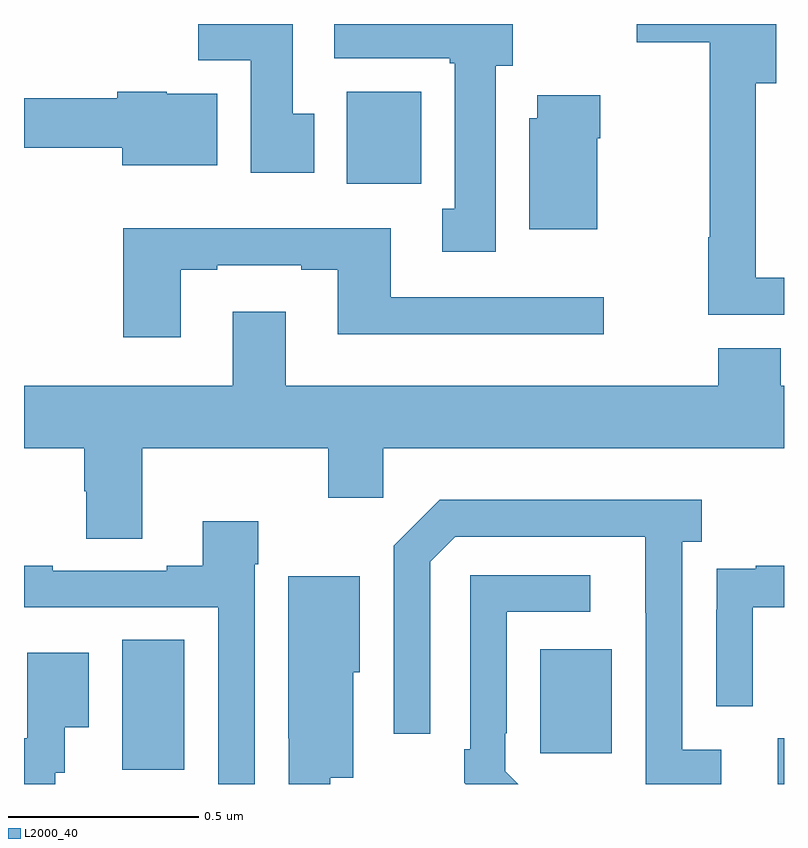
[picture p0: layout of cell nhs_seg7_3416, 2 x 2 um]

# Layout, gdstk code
import gdstk
lib = gdstk.Library(unit=1e-6, precision=1e-09)
def R(c, l, rs):  # rectangles x0, y0, x1, y1
    for r in rs: c.add(gdstk.rectangle(r[:2], r[2:], *l))
def P(c, l, *ps):  # polygons
    for p in ps: c.add(gdstk.Polygon(p, *l))
L2000_40 = (2000, 40)

nhs_seg7_3416 = lib.new_cell('nhs_seg7_3416')
R(nhs_seg7_3416, L2000_40, [(159.983,1065,160,1065.12), (158.258,1065.037,158.422,1065.38), (159.359,1065.081,159.547,1065.355), (158.849,1066.58,159.046,1066.822)])
P(nhs_seg7_3416, L2000_40, [(160,1066.332),(159.925,1066.332),(159.925,1066.844),(159.979,1066.844),(159.979,1067),(159.612,1067),(159.612,1066.952),(159.805,1066.952),(159.805,1066.439),(159.8,1066.439),(159.8,1066.235),(160,1066.235)],
  [(159.241,1066.89),(159.286,1066.89),(159.286,1067),(158.817,1067),(158.817,1066.91),(159.121,1066.91),(159.121,1066.897),(159.134,1066.897),(159.134,1066.514),(159.101,1066.514),(159.101,1066.401),(159.241,1066.401)],
  [(158.764,1066.764),(158.707,1066.764),(158.707,1067),(158.458,1067),(158.458,1066.904),(158.597,1066.904),(158.597,1066.608),(158.764,1066.608)],
  [(158.509,1066.816),(158.376,1066.816),(158.376,1066.822),(158.246,1066.822),(158.246,1066.804),(158,1066.804),(158,1066.675),(158.258,1066.675),(158.258,1066.628),(158.509,1066.628)],
  [(159.508,1066.7),(159.516,1066.7),(159.516,1066.813),(159.35,1066.813),(159.35,1066.752),(159.329,1066.752),(159.329,1066.46),(159.508,1066.46)],
  [(158.413,1066.353),(158.509,1066.353),(158.509,1066.365),(158.729,1066.365),(158.729,1066.353),(158.825,1066.353),(158.825,1066.184),(159.526,1066.184),(159.526,1066.281),(158.965,1066.281),(158.965,1066.462),(158.261,1066.462),(158.261,1066.176),(158.413,1066.176)],
  [(158.311,1065.884),(158.8,1065.884),(158.8,1065.753),(158.946,1065.753),(158.946,1065.884),(160,1065.884),(160,1066.048),(159.992,1066.048),(159.992,1066.147),(159.827,1066.147),(159.827,1066.048),(158.689,1066.048),(158.689,1066.243),(158.549,1066.243),(158.549,1066.048),(158,1066.048),(158,1065.884),(158.159,1065.884),(158.159,1065.771),(158.164,1065.771),(158.164,1065.646),(158.311,1065.646)],
  [(159.835,1065.09),(159.732,1065.09),(159.732,1065.638),(159.784,1065.638),(159.784,1065.748),(159.094,1065.748),(158.973,1065.627),(158.973,1065.132),(159.069,1065.132),(159.069,1065.585),(159.135,1065.651),(159.635,1065.651),(159.635,1065.451),(159.636,1065.451),(159.636,1065),(159.835,1065)],
  [(158.607,1065.578),(158.616,1065.578),(158.616,1065.691),(158.471,1065.691),(158.471,1065.574),(158.375,1065.574),(158.375,1065.561),(158.075,1065.561),(158.075,1065.574),(158,1065.574),(158,1065.465),(158.511,1065.465),(158.511,1065),(158.607,1065)],
  [(159.918,1065.465),(160,1065.465),(160,1065.574),(159.925,1065.574),(159.925,1065.567),(159.823,1065.567),(159.823,1065.458),(159.822,1065.458),(159.822,1065.204),(159.918,1065.204)],
  [(159.267,1065.033),(159.267,1065.133),(159.27,1065.133),(159.27,1065.453),(159.49,1065.453),(159.49,1065.549),(159.174,1065.549),(159.174,1065.091),(159.159,1065.091),(159.159,1065.003),(159.162,1065),(159.3,1065)],
  [(158.806,1065.017),(158.866,1065.017),(158.866,1065.294),(158.884,1065.294),(158.884,1065.547),(158.696,1065.547),(158.696,1065.121),(158.697,1065.121),(158.697,1065),(158.806,1065)],
  [(158.082,1065.03),(158.107,1065.03),(158.107,1065.149),(158.17,1065.149),(158.17,1065.346),(158.009,1065.346),(158.009,1065.12),(158,1065.12),(158,1065),(158.082,1065)])

lib.write_gds('nhs_seg7_3416.gds')
